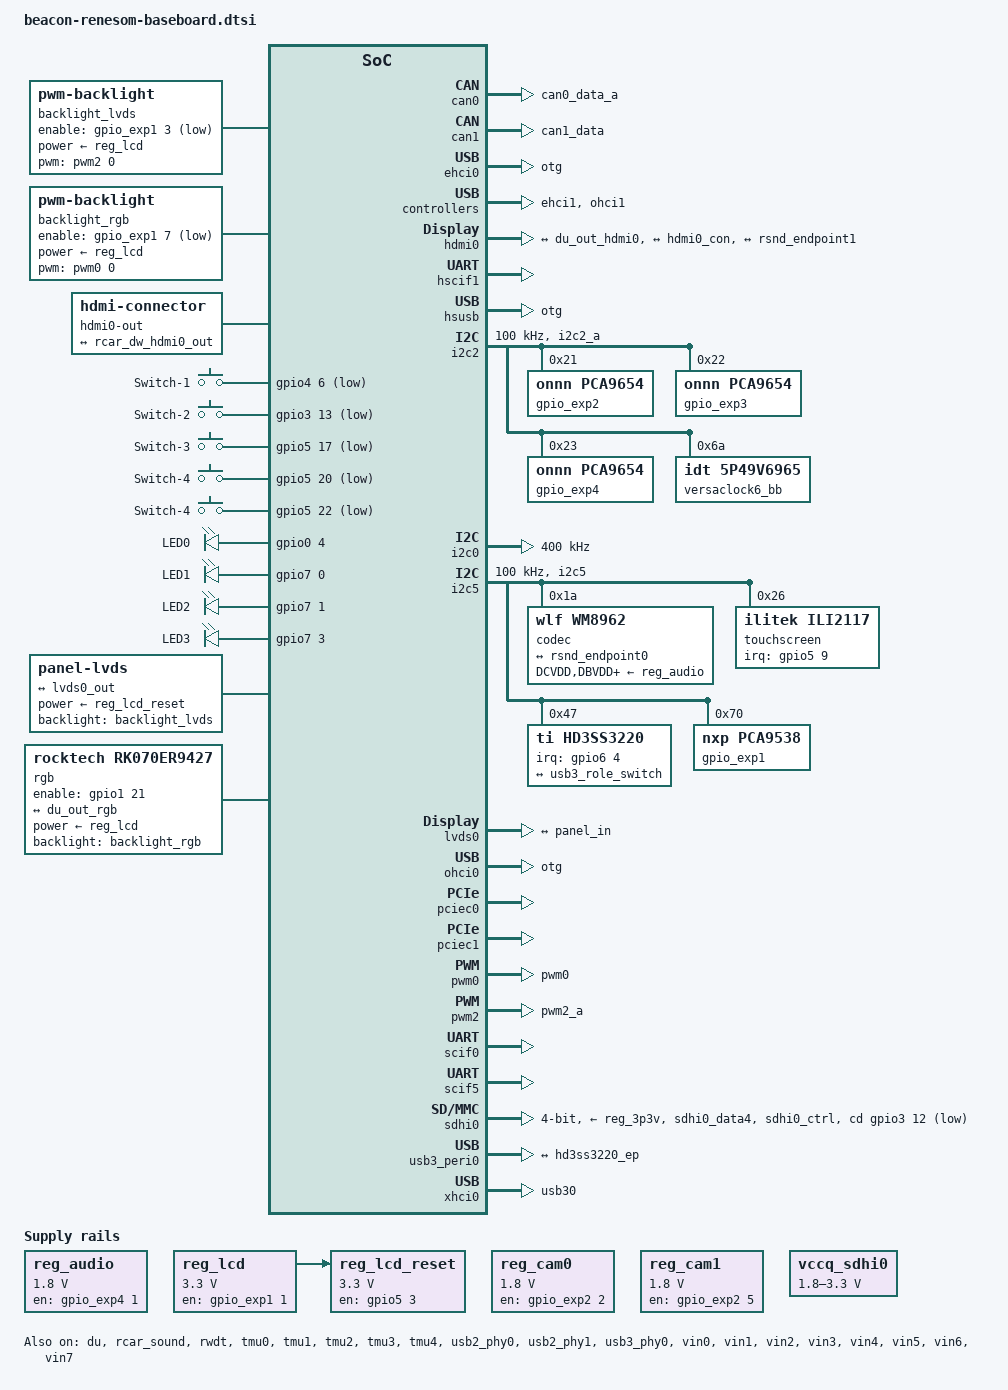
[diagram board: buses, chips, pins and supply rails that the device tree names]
// SPDX-License-Identifier: GPL-2.0
/*
 * Copyright 2020, Compass Electronics Group, LLC
 */

#include <dt-bindings/gpio/gpio.h>
#include <dt-bindings/input/input.h>

/ {
	backlight_lvds: backlight-lvds {
		compatible = "pwm-backlight";
		power-supply = <&reg_lcd>;
		enable-gpios = <&gpio_exp1 3 GPIO_ACTIVE_LOW>;
		pwms = <&pwm2 0 50000>;
		brightness-levels = <0 4 8 16 32 64 128 255>;
		default-brightness-level = <6>;
	};

	backlight_rgb: backlight-rgb {
		compatible = "pwm-backlight";
		power-supply = <&reg_lcd>;
		enable-gpios = <&gpio_exp1 7 GPIO_ACTIVE_LOW>;
		pwms = <&pwm0 0 50000>;
		brightness-levels = <0 4 8 16 32 64 128 255>;
		default-brightness-level = <6>;
	};

	hdmi0-out {
		compatible = "hdmi-connector";
		type = "a";

		port {
			hdmi0_con: endpoint {
				remote-endpoint = <&rcar_dw_hdmi0_out>;
			};
		};
	};

	keys {
		compatible = "gpio-keys";

		key-1 {
			gpios = <&gpio4 6 GPIO_ACTIVE_LOW>;
			linux,code = <KEY_1>;
			label = "Switch-1";
			wakeup-source;
			debounce-interval = <20>;
		};
		key-2 {
			gpios = <&gpio3 13 GPIO_ACTIVE_LOW>;
			linux,code = <KEY_2>;
			label = "Switch-2";
			wakeup-source;
			debounce-interval = <20>;
		};
		key-3 {
			gpios = <&gpio5 17 GPIO_ACTIVE_LOW>;
			linux,code = <KEY_3>;
			label = "Switch-3";
			wakeup-source;
			debounce-interval = <20>;
		};
		key-4 {
			gpios = <&gpio5 20 GPIO_ACTIVE_LOW>;
			linux,code = <KEY_4>;
			label = "Switch-4";
			wakeup-source;
			debounce-interval = <20>;
		};
		key-5 {
			gpios = <&gpio5 22 GPIO_ACTIVE_LOW>;
			linux,code = <KEY_5>;
			label = "Switch-4";
			wakeup-source;
			debounce-interval = <20>;
		};
	};

	leds {
		compatible = "gpio-leds";
		pinctrl-0 = <&led_pins>;
		pinctrl-names = "default";

		led0 {
			gpios = <&gpio0 4 GPIO_ACTIVE_HIGH>;
			label = "LED0";
			linux,default-trigger = "heartbeat";
		};
		led1 {
			gpios = <&gpio7 0 GPIO_ACTIVE_HIGH>;
			label = "LED1";
		};
		led2 {
			gpios = <&gpio7 1 GPIO_ACTIVE_HIGH>;
			label = "LED2";
		};
		led3 {
			gpios = <&gpio7 3 GPIO_ACTIVE_HIGH>;
			label = "LED3";
		};
	};

	lvds {
		compatible = "panel-lvds";
		power-supply = <&reg_lcd_reset>;
		width-mm = <223>;
		height-mm = <125>;
		backlight = <&backlight_lvds>;
		data-mapping = "vesa-24";

		panel-timing {
			/* 800x480@60Hz */
			clock-frequency = <30000000>;
			hactive = <800>;
			vactive = <480>;
			hsync-len = <48>;
			hfront-porch = <40>;
			hback-porch = <40>;
			vfront-porch = <13>;
			vback-porch = <29>;
			vsync-len = <3>;
			hsync-active = <1>;
			vsync-active = <1>;
			de-active = <1>;
			pixelclk-active = <0>;
		};

		port {
			panel_in: endpoint {
				remote-endpoint = <&lvds0_out>;
			};
		};
	};

	rgb {
		/* Different LCD with compatible timings */
		compatible = "rocktech,rk070er9427";
		backlight = <&backlight_rgb>;
		enable-gpios = <&gpio1 21 GPIO_ACTIVE_HIGH>;
		power-supply = <&reg_lcd>;
		port {
			rgb_panel: endpoint {
				remote-endpoint = <&du_out_rgb>;
			};
		};
	};

	reg_audio: regulator-audio {
		compatible = "regulator-fixed";
		regulator-name = "audio-1.8V";
		regulator-min-microvolt = <1800000>;
		regulator-max-microvolt = <1800000>;
		gpio = <&gpio_exp4 1 GPIO_ACTIVE_HIGH>;
		enable-active-high;
	};

	reg_lcd: regulator-lcd {
		compatible = "regulator-fixed";
		regulator-name = "lcd_panel_pwr";
		regulator-min-microvolt = <3300000>;
		regulator-max-microvolt = <3300000>;
		gpio = <&gpio_exp1 1 GPIO_ACTIVE_HIGH>;
		enable-active-high;
	};

	reg_lcd_reset: regulator-lcd-reset {
		compatible = "regulator-fixed";
		regulator-name = "nLCD_RESET";
		regulator-min-microvolt = <3300000>;
		regulator-max-microvolt = <3300000>;
		gpio = <&gpio5 3 GPIO_ACTIVE_HIGH>;
		enable-active-high;
		vin-supply = <&reg_lcd>;
	};

	reg_cam0: regulator-cam0 {
		compatible = "regulator-fixed";
		regulator-name = "reg_cam0";
		regulator-min-microvolt = <1800000>;
		regulator-max-microvolt = <1800000>;
		gpio = <&gpio_exp2 2 GPIO_ACTIVE_HIGH>;
		enable-active-high;
	};

	reg_cam1: regulator-cam1 {
		compatible = "regulator-fixed";
		regulator-name = "reg_cam1";
		regulator-min-microvolt = <1800000>;
		regulator-max-microvolt = <1800000>;
		gpio = <&gpio_exp2 5 GPIO_ACTIVE_HIGH>;
		enable-active-high;
		startup-delay-us = <100000>;
	};

	sound_card {
		compatible = "audio-graph-card";
		label = "rcar-sound";
		dais = <&rsnd_port0>, <&rsnd_port1>;
	};

	vccq_sdhi0: regulator-vccq-sdhi0 {
		compatible = "regulator-gpio";

		regulator-name = "SDHI0 VccQ";
		regulator-min-microvolt = <1800000>;
		regulator-max-microvolt = <3300000>;

		gpios = <&gpio6 30 GPIO_ACTIVE_HIGH>;
		gpios-states = <1>;
		states = <3300000 1>, <1800000 0>;
		regulator-always-on;
	};

	/* External DU dot clocks */
	x302_clk: x302-clock {
		compatible = "fixed-clock";
		#clock-cells = <0>;
		clock-frequency = <33000000>;
	};

	x304_clk: x304-clock {
		compatible = "fixed-clock";
		#clock-cells = <0>;
		clock-frequency = <25000000>;
	};
};

&audio_clk_a {
	clock-frequency = <24576000>;
	assigned-clocks = <&versaclock6_bb 4>;
	assigned-clock-rates = <24576000>;
};

&audio_clk_b {
	clock-frequency = <22579200>;
};

&can0 {
	pinctrl-0 = <&can0_pins>;
	pinctrl-names = "default";
	renesas,can-clock-select = <0x0>;
	status = "okay";
};

&can1 {
	pinctrl-0 = <&can1_pins>;
	pinctrl-names = "default";
	renesas,can-clock-select = <0x0>;
	status = "okay";
};

&du {
	pinctrl-0 = <&du_pins>;
	pinctrl-names = "default";
	status = "okay";

	clocks = <&cpg CPG_MOD 724>,
		<&cpg CPG_MOD 723>,
		<&cpg CPG_MOD 722>,
		<&versaclock5 1>,
		<&x302_clk>,
		<&versaclock5 2>;
	clock-names = "du.0", "du.1", "du.2",
		"dclkin.0", "dclkin.1", "dclkin.2";
};

&du_out_rgb {
	remote-endpoint = <&rgb_panel>;
};

&ehci0 {
	dr_mode = "otg";
	status = "okay";
	clocks = <&cpg CPG_MOD 703>, <&cpg CPG_MOD 704>, <&usb2_clksel>, <&versaclock5 3>;
};

&ehci1 {
	status = "okay";
	clocks = <&cpg CPG_MOD 703>, <&cpg CPG_MOD 704>, <&usb2_clksel>, <&versaclock5 3>;
};

&hdmi0 {
	status = "okay";
	ports {
		#address-cells = <1>;
		#size-cells = <0>;
		port@0 {
			reg = <0>;
			dw_hdmi0_in: endpoint {
				remote-endpoint = <&du_out_hdmi0>;
			};
		};
		port@1 {
			reg = <1>;
			rcar_dw_hdmi0_out: endpoint {
				remote-endpoint = <&hdmi0_con>;
			};
		};
		port@2 {
			reg = <2>;
			dw_hdmi0_snd_in: endpoint {
				remote-endpoint = <&rsnd_endpoint1>;
			};
		};
	};
};

&hscif1 {
	pinctrl-0 = <&hscif1_pins>;
	pinctrl-names = "default";
	uart-has-rtscts;
	status = "okay";
};

&hsusb {
	dr_mode = "otg";
	status = "okay";
};

&i2c2 {
	status = "okay";
	clock-frequency = <100000>;
	pinctrl-0 = <&i2c2_pins>;
	pinctrl-names = "default";

	gpio_exp2: gpio@21 {
		compatible = "onnn,pca9654";
		reg = <0x21>;
		gpio-controller;
		#gpio-cells = <2>;
	};

	gpio_exp3: gpio@22 {
		compatible = "onnn,pca9654";
		reg = <0x22>;
		gpio-controller;
		#gpio-cells = <2>;
	};

	gpio_exp4: gpio@23 {
		compatible = "onnn,pca9654";
		reg = <0x23>;
		gpio-controller;
		#gpio-cells = <2>;
	};

	versaclock6_bb: clock-controller@6a {
		compatible = "idt,5p49v6965";
		reg = <0x6a>;
		#clock-cells = <1>;
		clocks = <&x304_clk>;
		clock-names = "xin";
		/* CSI0_MCLK, CSI1_MCLK, AUDIO_CLKIN, USB_HUB_MCLK_BB */
		assigned-clocks = <&versaclock6_bb 1>,
				   <&versaclock6_bb 2>,
				   <&versaclock6_bb 3>,
				   <&versaclock6_bb 4>;
		assigned-clock-rates =	<24000000>, <24000000>, <24000000>, <24576000>;
	};
};

&i2c0 {
	status = "okay";
	clock-frequency = <400000>;

	pinctrl-0 = <&i2c0_pins>;
	pinctrl-names = "default";
};

&i2c5 {
	status = "okay";
	clock-frequency = <100000>;
	pinctrl-0 = <&i2c5_pins>;
	pinctrl-names = "default";

	codec: wm8962@1a {
		compatible = "wlf,wm8962";
		reg = <0x1a>;
		DCVDD-supply = <&reg_audio>;
		DBVDD-supply = <&reg_audio>;
		AVDD-supply = <&reg_audio>;
		CPVDD-supply = <&reg_audio>;
		MICVDD-supply = <&reg_audio>;
		PLLVDD-supply = <&reg_audio>;
		SPKVDD1-supply = <&reg_audio>;
		SPKVDD2-supply = <&reg_audio>;
		gpio-cfg = <
			0x0000 /* 0:Default */
			0x0000 /* 1:Default */
			0x0000 /* 2:Default */
			0x0000 /* 3:Default */
			0x0000 /* 4:Default */
			0x0000 /* 5:Default */
		>;
		port {
			wm8962_endpoint: endpoint {
				remote-endpoint = <&rsnd_endpoint0>;
			};
		};
	};

	touchscreen@26 {
		compatible = "ilitek,ili2117";
		reg = <0x26>;
		interrupt-parent = <&gpio5>;
		interrupts = <9 IRQ_TYPE_EDGE_RISING>;
		wakeup-source;
	};

	hd3ss3220@47 {
		compatible = "ti,hd3ss3220";
		reg = <0x47>;
		interrupt-parent = <&gpio6>;
		interrupts = <4 IRQ_TYPE_LEVEL_LOW>;

		connector {
			compatible = "usb-c-connector";
			label = "USB-C";
			data-role = "dual";

			ports {
				#address-cells = <1>;
				#size-cells = <0>;

				port@1 {
					reg = <1>;
					hd3ss3220_ep: endpoint {
						remote-endpoint = <&usb3_role_switch>;
					};
				};
			};
		};
	};

	gpio_exp1: gpio@70 {
		compatible = "nxp,pca9538";
		reg = <0x70>;
		gpio-controller;
		#gpio-cells = <2>;
		gpio-line-names = "lcd_reset", "lcd_pwr", "lcd_select",
				  "backlight-enable", "Touch_shdwn",
				  "LCD_H_pol", "lcd_V_pol";
	};
};

&lvds0 {
	status = "okay";

	ports {
		port@1 {
			lvds0_out: endpoint {
				remote-endpoint = <&panel_in>;
			};
		};
	};
};

&ohci0 {
	dr_mode = "otg";
	status = "okay";
};

&ohci1 {
	status = "okay";
};

&pciec0 {
	status = "okay";
};

&pciec1 {
	status = "okay";
};

&pcie_bus_clk {
	clock-frequency = <100000000>;
};

&pfc {
	can0_pins: can0 {
		groups = "can0_data_a";
		function = "can0";
	};

	can1_pins: can1 {
		groups = "can1_data";
		function = "can1";
	};

	du_pins: du {
		groups = "du_rgb888", "du_sync", "du_clk_out_1", "du_disp";
		function = "du";
	};

	i2c2_pins: i2c2 {
		groups = "i2c2_a";
		function = "i2c2";
	};

	i2c5_pins: i2c5 {
		groups = "i2c5";
		function = "i2c5";
	};

	led_pins: leds {
		/* GP_0_4 , AVS1, AVS2, GP_7_3 */
		pins = "GP_0_4", "GP_7_0", "GP_7_1", "GP_7_3";
		bias-pull-down;
	};

	pwm0_pins: pwm0 {
		groups = "pwm0";
		function = "pwm0";
	};

	pwm2_pins: pwm2 {
		groups = "pwm2_a";
		function = "pwm2_a";
	};

	sdhi0_pins: sd0 {
		groups = "sdhi0_data4", "sdhi0_ctrl";
		function = "sdhi0";
		power-source = <3300>;
	};

	sdhi0_pins_uhs: sd0_uhs {
		groups = "sdhi0_data4", "sdhi0_ctrl";
		function = "sdhi0";
		power-source = <1800>;
	};

	sound_pins: sound {
		groups = "ssi01239_ctrl", "ssi0_data", "ssi1_data_a";
		function = "ssi";
	};

	sound_clk_pins: sound_clk {
		groups = "audio_clk_a_a";
		function = "audio_clk";
	};

	usb0_pins: usb0 {
		mux {
			groups = "usb0";
			function = "usb0";
		};
	};

	usb1_pins: usb1 {
		mux {
			groups = "usb1";
			function = "usb1";
		};
	};

	usb30_pins: usb30 {
		mux {
			groups = "usb30";
			function = "usb30";
		};
	};
};

&pwm0 {
	pinctrl-0 = <&pwm0_pins>;
	pinctrl-names = "default";
	status = "okay";
};

&pwm2 {
	pinctrl-0 = <&pwm2_pins>;
	pinctrl-names = "default";
	status = "okay";
};

&rcar_sound {
	pinctrl-0 = <&sound_pins &sound_clk_pins>;
	pinctrl-names = "default";

	/* Single DAI */
	#sound-dai-cells = <0>;

	/* audio_clkout0/1/2/3 */
	#clock-cells = <1>;
	clock-frequency = <11289600>;

	status = "okay";

	clocks = <&cpg CPG_MOD 1005>,
		 <&cpg CPG_MOD 1006>, <&cpg CPG_MOD 1007>,
		 <&cpg CPG_MOD 1008>, <&cpg CPG_MOD 1009>,
		 <&cpg CPG_MOD 1010>, <&cpg CPG_MOD 1011>,
		 <&cpg CPG_MOD 1012>, <&cpg CPG_MOD 1013>,
		 <&cpg CPG_MOD 1014>, <&cpg CPG_MOD 1015>,
		 <&cpg CPG_MOD 1022>, <&cpg CPG_MOD 1023>,
		 <&cpg CPG_MOD 1024>, <&cpg CPG_MOD 1025>,
		 <&cpg CPG_MOD 1026>, <&cpg CPG_MOD 1027>,
		 <&cpg CPG_MOD 1028>, <&cpg CPG_MOD 1029>,
		 <&cpg CPG_MOD 1030>, <&cpg CPG_MOD 1031>,
		 <&cpg CPG_MOD 1020>, <&cpg CPG_MOD 1021>,
		 <&cpg CPG_MOD 1020>, <&cpg CPG_MOD 1021>,
		 <&cpg CPG_MOD 1019>, <&cpg CPG_MOD 1018>,
		 <&audio_clk_a>, <&audio_clk_b>, <&audio_clk_c>,
		 <&cpg CPG_CORE R8A774A1_CLK_S0D4>;

	ports {
		#address-cells = <1>;
		#size-cells = <0>;
		rsnd_port0: port@0 {
			reg = <0>;
			rsnd_endpoint0: endpoint {
				remote-endpoint = <&wm8962_endpoint>;

				dai-format = "i2s";
				bitclock-master = <&rsnd_endpoint0>;
				frame-master = <&rsnd_endpoint0>;

				playback = <&ssi1 &dvc1 &src1>;
				capture = <&ssi0>;
			};
		};
		rsnd_port1: port@1 {
		    reg = <0x01>;
			rsnd_endpoint1: endpoint {
				remote-endpoint = <&dw_hdmi0_snd_in>;

				dai-format = "i2s";
				bitclock-master = <&rsnd_endpoint1>;
				frame-master = <&rsnd_endpoint1>;

				playback = <&ssi2>;
			};
		};
	};
};

&rwdt {
	status = "okay";
	timeout-sec = <60>;
};

&scif0 {
	pinctrl-0 = <&scif0_pins>;
	pinctrl-names = "default";
	status = "okay";
};

&scif5 {
	pinctrl-0 = <&scif5_pins>;
	pinctrl-names = "default";
	status = "okay";
};

&scif_clk {
	clock-frequency = <14745600>;
};

&sdhi0 {
	pinctrl-0 = <&sdhi0_pins>;
	pinctrl-1 = <&sdhi0_pins_uhs>;
	pinctrl-names = "default", "state_uhs";
	vmmc-supply = <&reg_3p3v>;
	vqmmc-supply = <&vccq_sdhi0>;
	cd-gpios = <&gpio3 12 GPIO_ACTIVE_LOW>;
	bus-width = <4>;
	sd-uhs-sdr50;
	sd-uhs-sdr104;
	status = "okay";
};

&ssi1 {
	shared-pin;
};

&tmu0 {
	status = "okay";
};

&tmu1 {
	status = "okay";
};

&tmu2 {
	status = "okay";
};

&tmu3 {
	status = "okay";
};

&tmu4 {
	status = "okay";
};

&usb2_phy0 {
	pinctrl-0 = <&usb0_pins>;
	pinctrl-names = "default";
	status = "okay";
};

&usb2_phy1 {
	pinctrl-0 = <&usb1_pins>;
	pinctrl-names = "default";
	status = "okay";
};

&usb3_peri0 {
	companion = <&xhci0>;
	status = "okay";
	usb-role-switch;

	port {
		usb3_role_switch: endpoint {
			remote-endpoint = <&hd3ss3220_ep>;
		};
	};
};

&usb3_phy0 {
	status = "okay";
};

&vin0 {
	status = "okay";
};
&vin1 {
	status = "okay";
};
&vin2 {
	status = "okay";
};
&vin3 {
	status = "okay";
};
&vin4 {
	status = "okay";
};
&vin5 {
	status = "okay";
};
&vin6 {
	status = "okay";
};
&vin7 {
	status = "okay";
};

&xhci0
{
	pinctrl-0 = <&usb30_pins>;
	pinctrl-names = "default";
	status = "okay";
};
